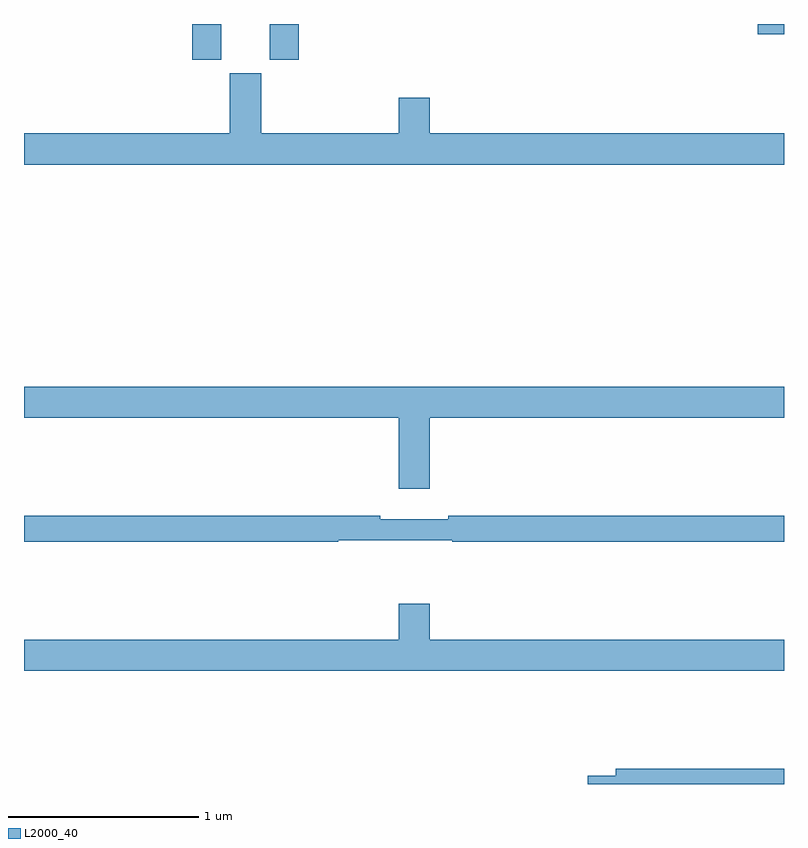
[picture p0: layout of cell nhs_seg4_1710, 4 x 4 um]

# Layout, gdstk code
import gdstk
lib = gdstk.Library(unit=1e-6, precision=1e-09)
def R(c, l, rs):  # rectangles x0, y0, x1, y1
    for r in rs: c.add(gdstk.rectangle(r[:2], r[2:], *l))
def P(c, l, *ps):  # polygons
    for p in ps: c.add(gdstk.Polygon(p, *l))
L2000_40 = (2000, 40)

nhs_seg4_1710 = lib.new_cell('nhs_seg4_1710')
R(nhs_seg4_1710, L2000_40, [(199.886,790.713,200.038,790.9), (200.294,790.713,200.447,790.9), (202.862,790.847,203,790.9)])
P(nhs_seg4_1710, L2000_40, [(203,790.324),(201.136,790.324),(201.136,790.513),(200.972,790.513),(200.972,790.324),(200.248,790.324),(200.248,790.641),(200.084,790.641),(200.084,790.324),(199,790.324),(199,790.16),(203,790.16)],
  [(201.136,788.828),(203,788.828),(203,788.992),(199,788.992),(199,788.828),(200.972,788.828),(200.972,788.454),(201.136,788.454)],
  [(200.655,788.184),(201.255,788.184),(201.255,788.176),(203,788.176),(203,788.312),(201.232,788.312),(201.232,788.293),(200.876,788.293),(200.876,788.312),(199,788.312),(199,788.176),(200.655,788.176)],
  [(203,787.66),(201.136,787.66),(201.136,787.849),(200.972,787.849),(200.972,787.66),(199,787.66),(199,787.496),(203,787.496)],
  [(203,786.98),(202.115,786.98),(202.115,786.944),(201.966,786.944),(201.966,786.9),(203,786.9)])

lib.write_gds('nhs_seg4_1710.gds')
